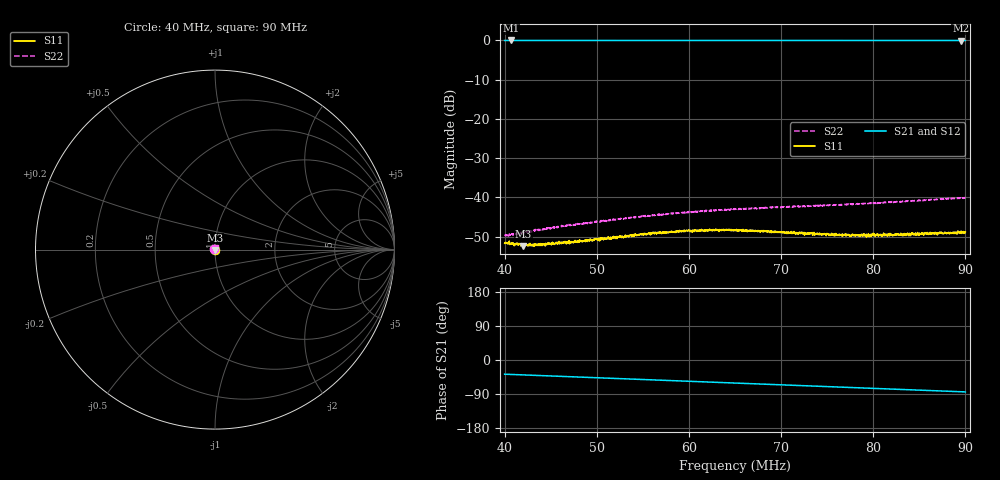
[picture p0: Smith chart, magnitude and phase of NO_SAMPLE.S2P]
!Agilent Technologies,E5061B,MY49102235,A.02.00
!Date: Thu Jun 29 15:03:53 2023
!Data & Calibration Information:
!Freq	S11:SOLT2(ON)	S21:SOLT2(ON)	S12:SOLT2(ON)	S22:SOLT2(ON)
# Hz S dB R 50
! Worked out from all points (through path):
!   1600 points, 40 MHz to 90 MHz, reference 50 ohm
!   highest |S21| = 0.00 dB at 40.69 MHz (marker M1); lowest = 0.0 dB at 89.5 MHz (marker M2)
!   group delay of S21, straight-line fit = 2.6 ns
!   lowest |S11| = -52.4 dB at 42.03 MHz (marker M3), VSWR 1.00, Z = 49.9 - j0.233 ohm
!   |S11| at or under -10 dB: start of sweep to end of sweep
!   |S22| runs from -49.8 to -40.0 dB; largest |S21 - S12| = 0.00074
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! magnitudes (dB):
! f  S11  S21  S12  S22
! 40 MHz  -51.7  0.0  0.0  -49.5
! 40.69 MHz  -51.9  0.0  0.0  -49.6
! 40.81 MHz  -51.6  0.0  0.0  -49.4
! 41.47 MHz  -52.2  0.0  0.0  -49.3
! 42.03 MHz  -52.4  0.0  0.0  -49.0
! 43.03 MHz  -52.3  0.0  0.0  -48.5
! 44.16 MHz  -52.0  0.0  0.0  -48.1
! 48.35 MHz  -51.1  0.0  0.0  -46.7
! 56.67 MHz  -49.0  0.0  0.0  -44.3
! 58.36 MHz  -48.8  0.0  0.0  -44.0
! 59.92 MHz  -48.4  0.0  0.0  -43.9
! 60.36 MHz  -48.7  0.0  0.0  -43.7
! 62.42 MHz  -48.3  0.0  0.0  -43.2
! 65.02 MHz  -48.3  0.0  0.0  -43.1
! 73.36 MHz  -49.0  0.0  0.0  -42.2
! 77.65 MHz  -49.8  0.0  0.0  -41.7
! 81.68 MHz  -49.5  0.0  0.0  -41.3
! 83.37 MHz  -49.2  0.0  0.0  -41.1
! 84.4 MHz  -49.3  0.0  0.0  -40.9
! 84.93 MHz  -49.3  0.0  0.0  -40.8
! 89.5 MHz  -49.0  0.0  0.0  -40.3
! 90 MHz  -48.8  0.0  0.0  -40.1
